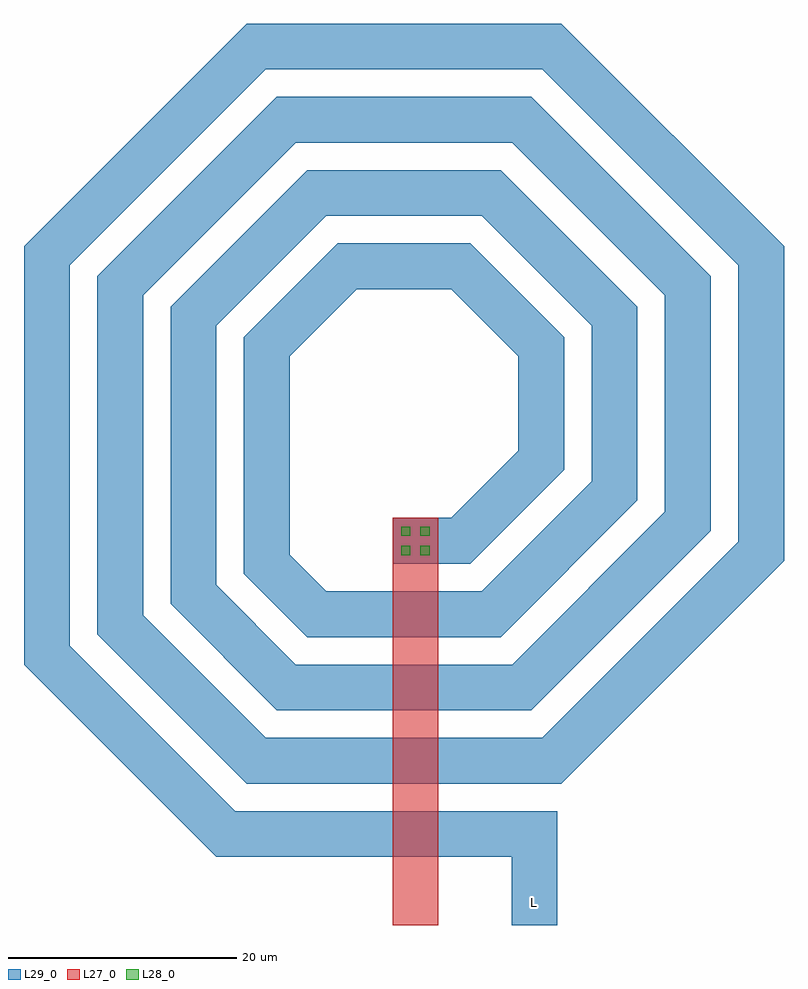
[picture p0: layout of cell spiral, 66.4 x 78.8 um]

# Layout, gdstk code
import gdstk
lib = gdstk.Library(unit=1e-6, precision=5e-10)
def R(c, l, rs):  # rectangles x0, y0, x1, y1
    for r in rs: c.add(gdstk.rectangle(r[:2], r[2:], *l))
def P(c, l, *ps):  # polygons
    for p in ps: c.add(gdstk.Polygon(p, *l))
L27_0 = (27, 0)
L28_0 = (28, 0)
L29_0 = (29, 0)

spiral = lib.new_cell('spiral')
R(spiral, L27_0, [(-1,-45.6,3,-10), (-0.24,-13.24,2.24,-10.76)])
R(spiral, L28_0, [(-0.24,-13.24,0.56,-12.44), (1.44,-13.24,2.24,-12.44), (-0.24,-11.56,0.56,-10.76), (1.44,-11.56,2.24,-10.76)])
R(spiral, L29_0, [(9.4,-45.6,13.4,-41.6), (-0.24,-13.24,2.24,-10.76)])
P(spiral, L29_0, [(9.4,-45.6),(9.4,-39.6),(-16.405,-39.6),(-33.2,-22.805),(-33.2,13.755),(-13.755,33.2),(13.755,33.2),(33.2,13.755),(33.2,-13.755),(13.755,-33.2),(-13.755,-33.2),(-26.8,-20.155),(-26.8,11.1),(-11.1,26.8),(11.1,26.8),(26.8,11.1),(26.8,-11.1),(11.1,-26.8),(-11.1,-26.8),(-20.4,-17.5),(-20.4,8.45),(-8.45,20.4),(8.45,20.4),(20.4,8.45),(20.4,-8.45),(8.45,-20.4),(-8.45,-20.4),(-14,-14.85),(-14,5.8),(-5.8,14),(5.8,14),(14,5.8),(14,-5.8),(5.8,-14),(-1,-14),(-1,-10),(4.14,-10),(10,-4.14),(10,4.14),(4.14,10),(-4.14,10),(-10,4.14),(-10,-13.19),(-6.79,-16.4),(6.79,-16.4),(16.4,-6.79),(16.4,6.79),(6.79,16.4),(-6.79,16.4),(-16.4,6.79),(-16.4,-15.84),(-9.44,-22.8),(9.44,-22.8),(22.8,-9.44),(22.8,9.44),(9.44,22.8),(-9.44,22.8),(-22.8,9.44),(-22.8,-18.495),(-12.095,-29.2),(12.095,-29.2),(29.2,-12.095),(29.2,12.095),(12.095,29.2),(-12.095,29.2),(-29.2,12.095),(-29.2,-21.145),(-14.745,-35.6),(13.4,-35.6),(13.4,-45.6)])
spiral.add(gdstk.Label('L', (11.4,-43.6), layer=29, texttype=1))

lib.write_gds('spiral.gds')
